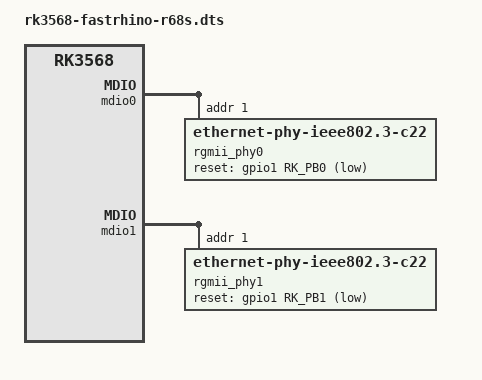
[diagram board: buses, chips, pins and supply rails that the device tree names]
// SPDX-License-Identifier: GPL-2.0-or-later OR MIT
//
// Lunzn FastRhino R68S - iStoreOS device tree overlay
// Fix PHY reset: use standard reset-gpios instead of deprecated snps,reset-*
// RTL8211F needs >=72ms deassert delay per datasheet.

/dts-v1/;

#include <rockchip/rk3568-fastrhino-r68s.dts>
#include "rk3568-ip.dtsi"
#include "rk3568-ip-rk809.dtsi"
#include "rk3568-fastrhino-openwrt.dtsi"

/ {
};

/* Remove deprecated snps PHY reset from gmac nodes.
 * Handled via standard reset-gpios in mdio nodes below. */
&gmac0 {
	/delete-property/ snps,reset-gpio;
	/delete-property/ snps,reset-active-low;
	/delete-property/ snps,reset-delays-us;
};

&gmac1 {
	/delete-property/ snps,reset-gpio;
	/delete-property/ snps,reset-active-low;
	/delete-property/ snps,reset-delays-us;
};

/* Fix PHY reset for gmac0 (eth0, RTL8211F).
 * Address 0x1 matches hardware MDIO bus.
 * Pin GPIO1_PB0 matches pinctrl definition.
 * Deassert 100ms (datasheet requires >=72ms). */
&mdio0 {
	/delete-node/ ethernet-phy@0;
	rgmii_phy0: ethernet-phy@1 {
		compatible = "ethernet-phy-ieee802.3-c22";
		reg = <0x1>;
		pinctrl-0 = <&eth_phy0_reset_pin>;
		pinctrl-names = "default";
		reset-assert-us = <20000>;
		reset-deassert-us = <100000>;
		reset-gpios = <&gpio1 RK_PB0 GPIO_ACTIVE_LOW>;
	};
};

/* Fix PHY reset for gmac1 (eth1, RTL8211F).
 * Address 0x1, pin GPIO1_PB1. */
&mdio1 {
	/delete-node/ ethernet-phy@0;
	rgmii_phy1: ethernet-phy@1 {
		compatible = "ethernet-phy-ieee802.3-c22";
		reg = <0x1>;
		pinctrl-0 = <&eth_phy1_reset_pin>;
		pinctrl-names = "default";
		reset-assert-us = <20000>;
		reset-deassert-us = <100000>;
		reset-gpios = <&gpio1 RK_PB1 GPIO_ACTIVE_LOW>;
	};
};
